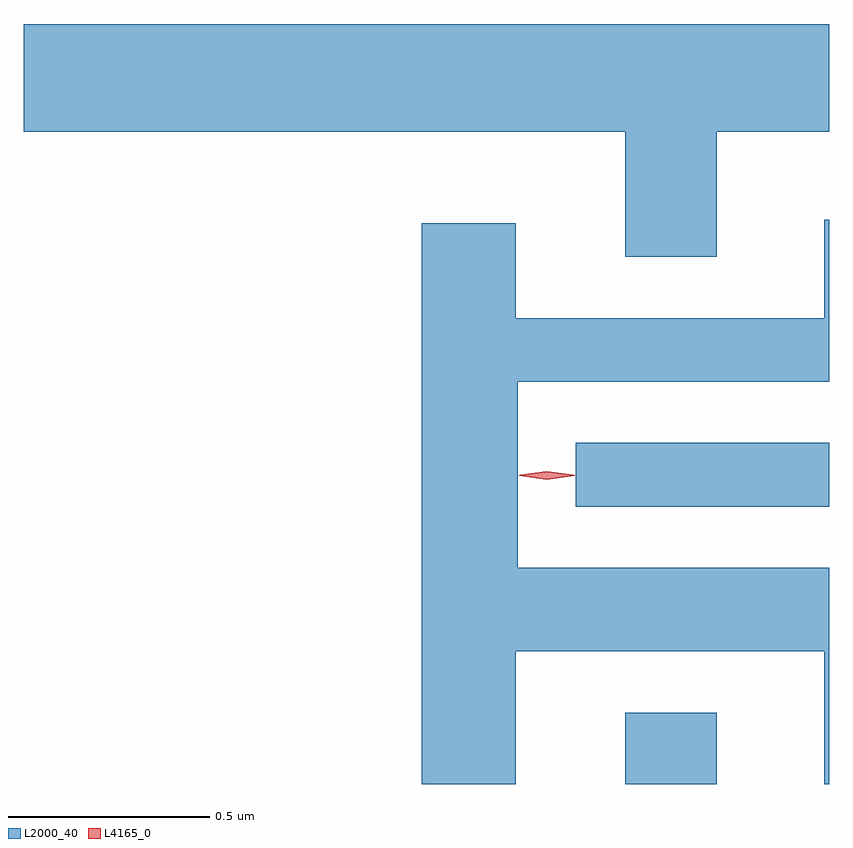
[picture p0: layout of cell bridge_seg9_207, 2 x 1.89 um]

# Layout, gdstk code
import gdstk
lib = gdstk.Library(unit=1e-6, precision=1e-09)
def R(c, l, rs):  # rectangles x0, y0, x1, y1
    for r in rs: c.add(gdstk.rectangle(r[:2], r[2:], *l))
def P(c, l, *ps):  # polygons
    for p in ps: c.add(gdstk.Polygon(p, *l))
L2000_40 = (2000, 40)
L4165_0 = (4165, 0)

bridge_seg9_207 = lib.new_cell('bridge_seg9_207')
R(bridge_seg9_207, L2000_40, [(1225.161,2012.397,1225.389,2012.574), (1225.038,2013.086,1225.668,2013.244)])
P(bridge_seg9_207, L2000_40, [(1225.389,2014.016),(1225.668,2014.016),(1225.668,2014.284),(1223.668,2014.284),(1223.668,2014.016),(1225.161,2014.016),(1225.161,2013.706),(1225.389,2013.706)],
  [(1224.889,2012.726),(1225.656,2012.726),(1225.656,2012.397),(1225.668,2012.397),(1225.668,2012.934),(1224.894,2012.934),(1224.894,2013.396),(1225.668,2013.396),(1225.668,2013.798),(1225.656,2013.798),(1225.656,2013.554),(1224.889,2013.554),(1224.889,2013.789),(1224.656,2013.789),(1224.656,2012.397),(1224.889,2012.397)])
P(bridge_seg9_207, L4165_0, [(1224.967,2013.153),(1224.898,2013.162),(1224.898,2013.163),(1224.898,2013.164),(1224.967,2013.173),(1225.036,2013.164),(1225.036,2013.163),(1225.036,2013.162)],
  [(1224.967,2013.154),(1224.901,2013.164),(1224.9,2013.164),(1224.901,2013.165),(1224.967,2013.174),(1225.032,2013.165),(1225.033,2013.164),(1225.032,2013.164)])

lib.write_gds('bridge_seg9_207.gds')
